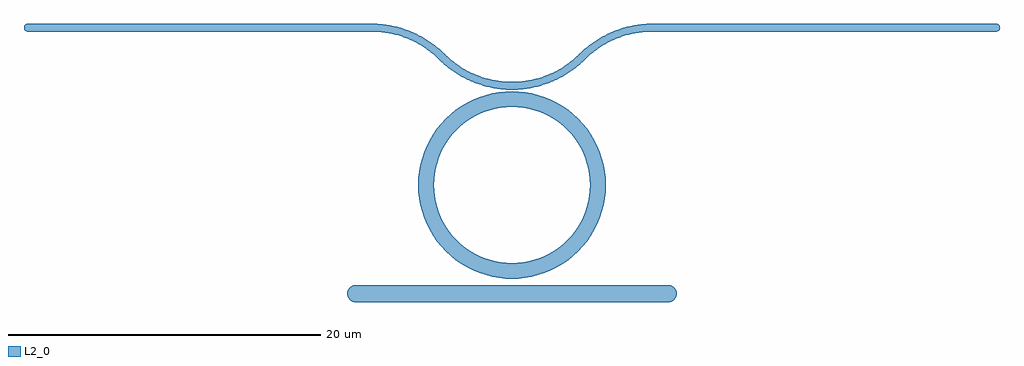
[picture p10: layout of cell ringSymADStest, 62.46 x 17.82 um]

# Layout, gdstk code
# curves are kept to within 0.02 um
import gdstk
lib = gdstk.Library(unit=1e-6, precision=1e-09)
def R(c, l, rs):  # rectangles x0, y0, x1, y1
    for r in rs: c.add(gdstk.rectangle(r[:2], r[2:], *l))
def P(c, l, *ps):  # polygons
    for p in ps: c.add(gdstk.Polygon(p, *l))
L2_0 = (2, 0)

ringsymadstest = lib.new_cell('ringSymADStest')
R(ringsymadstest, L2_0, [(-10,-7.5,10,-6.4)])
P(ringsymadstest, L2_0, [(0,-6),(-0.854,-5.939),(-1.275,-5.863),(-2.097,-5.622),(-2.492,-5.458),(-3.244,-5.048),(-3.596,-4.803),(-4.243,-4.243),(-4.803,-3.596),(-5.048,-3.244),(-5.458,-2.492),(-5.622,-2.097),(-5.863,-1.275),(-5.939,-0.854),(-6,0),(-5.939,0.854),(-5.863,1.275),(-5.622,2.097),(-5.458,2.492),(-5.048,3.244),(-4.803,3.596),(-4.243,4.243),(-3.596,4.803),(-3.244,5.048),(-2.492,5.458),(-2.097,5.622),(-1.275,5.863),(-0.854,5.939),(0,6),(0.854,5.939),(1.275,5.863),(2.097,5.622),(2.492,5.458),(3.244,5.048),(3.596,4.803),(4.243,4.243),(4.803,3.596),(5.048,3.244),(5.458,2.492),(5.622,2.097),(5.863,1.275),(5.939,0.854),(6,0),(5,0),(4.949,0.712),(4.886,1.063),(4.685,1.747),(4.388,2.396),(4.003,2.996),(3.536,3.536),(2.996,4.003),(2.396,4.388),(1.747,4.685),(1.063,4.886),(0.357,4.987),(-0.357,4.987),(-1.063,4.886),(-1.747,4.685),(-2.396,4.388),(-2.996,4.003),(-3.536,3.536),(-4.003,2.996),(-4.206,2.703),(-4.548,2.077),(-4.797,1.409),(-4.949,0.712),(-5,0),(-4.949,-0.712),(-4.886,-1.063),(-4.685,-1.747),(-4.548,-2.077),(-4.206,-2.703),(-3.779,-3.274),(-3.536,-3.536),(-2.996,-4.003),(-2.396,-4.388),(-1.747,-4.685),(-1.063,-4.886),(-0.712,-4.949),(0,-5),(0.712,-4.949),(1.063,-4.886),(1.747,-4.685),(2.077,-4.548),(2.703,-4.206),(2.996,-4.003),(3.536,-3.536),(4.003,-2.996),(4.388,-2.396),(4.685,-1.747),(4.886,-1.063),(4.949,-0.712),(5,0),(6,0),(5.939,-0.854),(5.863,-1.275),(5.622,-2.097),(5.458,-2.492),(5.048,-3.244),(4.803,-3.596),(4.243,-4.243),(3.596,-4.803),(3.244,-5.048),(2.492,-5.458),(2.097,-5.622),(1.275,-5.863),(0.854,-5.939)],
  [(0,6.1),(-0.706,6.138),(-1.403,6.251),(-2.084,6.438),(-2.742,6.696),(-3.368,7.024),(-3.86,7.347),(-4.322,7.712),(-5.238,8.537),(-5.962,9.021),(-6.546,9.313),(-7.054,9.508),(-7.577,9.656),(-8.112,9.758),(-8.98,9.82),(-30.98,9.82),(-30.98,10.32),(-8.98,10.32),(-8.041,10.253),(-7.348,10.115),(-6.785,9.944),(-6.239,9.723),(-5.714,9.455),(-5.216,9.141),(-4.839,8.859),(-3.995,8.09),(-3.568,7.752),(-3.019,7.399),(-2.534,7.151),(-1.926,6.912),(-1.297,6.739),(-0.652,6.635),(0,6.6)],
  [(0,6.1),(0,6.6),(0.652,6.635),(1.297,6.739),(1.926,6.912),(2.534,7.151),(3.019,7.399),(3.568,7.752),(3.995,8.09),(4.839,8.859),(5.216,9.141),(5.714,9.455),(6.239,9.723),(6.785,9.944),(7.348,10.115),(8.041,10.253),(8.98,10.32),(30.98,10.32),(30.98,9.82),(8.98,9.82),(8.112,9.758),(7.577,9.656),(7.054,9.508),(6.546,9.313),(5.962,9.021),(5.238,8.537),(4.322,7.712),(3.86,7.347),(3.368,7.024),(2.742,6.696),(2.084,6.438),(1.403,6.251),(0.706,6.138)],
  [(-30.98,9.82),(-31.078,9.839),(-31.157,9.893),(-31.211,9.972),(-31.23,10.07),(-31.211,10.167),(-31.157,10.247),(-31.078,10.3),(-30.98,10.32)],
  [(30.98,9.82),(30.98,10.32),(31.078,10.3),(31.157,10.247),(31.211,10.167),(31.23,10.07),(31.211,9.972),(31.157,9.893),(31.078,9.839)],
  [(10,-7.5),(10,-6.4),(10.214,-6.443),(10.389,-6.561),(10.507,-6.736),(10.55,-6.95),(10.507,-7.164),(10.389,-7.339),(10.214,-7.457)],
  [(-10,-7.5),(-10.214,-7.457),(-10.389,-7.339),(-10.507,-7.164),(-10.55,-6.95),(-10.507,-6.736),(-10.389,-6.561),(-10.214,-6.443),(-10,-6.4)])

lib.write_gds('ringSymADStest.gds')
